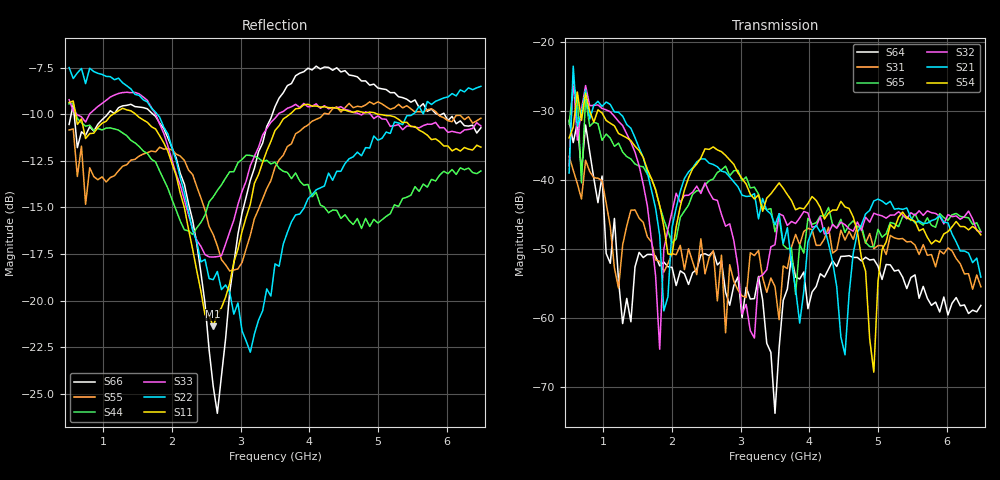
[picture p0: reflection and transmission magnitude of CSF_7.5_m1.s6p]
!Keysight Technologies,M9804A,MY58100912,A.14.10.03
!Date: Thursday, April 27, 2023 10:28:33
!Correction: S11(C  6-Port  )
!S12(C  6-Port  )
!S13(C  6-Port  )
!S14(C  6-Port  )
!S15(C  6-Port  )
!S16(C  6-Port  )
!S21(C  6-Port  )
!S22(C  6-Port  )
!S23(C  6-Port  )
!S24(C  6-Port  )
!S25(C  6-Port  )
!S26(C  6-Port  )
!S31(C  6-Port  )
!S32(C  6-Port  )
!S33(C  6-Port  )
!S34(C  6-Port  )
!S35(C  6-Port  )
!S36(C  6-Port  )
!S41(C  6-Port  )
!S42(C  6-Port  )
!S43(C  6-Port  )
!S44(C  6-Port  )
!S45(C  6-Port  )
!S46(C  6-Port  )
!S51(C  6-Port  )
!S52(C  6-Port  )
!S53(C  6-Port  )
!S54(C  6-Port  )
!S55(C  6-Port  )
!S56(C  6-Port  )
!S61(C  6-Port  )
!S62(C  6-Port  )
!S63(C  6-Port  )
!S64(C  6-Port  )
!S65(C  6-Port  )
!S66(C  6-Port  )
!S6P File: Measurement: :
# Hz S  RI  R 50
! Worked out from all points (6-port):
!   101 points, 500 MHz to 6.5 GHz, reference 50 ohm
!   strongest paths, dB at 500 MHz, 2 GHz, 3.5 GHz, 5 GHz, 6.5 GHz:
!     S54: -33.9, -50.8, -41.3, -54.8, -48.0
!     S21: -39.0, -46.9, -46.6, -42.8, -54.1
!     S32: -38.0, -44.6, -49.4, -45.1, -47.6
!     S65: -31.9, -49.2, -47.5, -47.2, -47.5
!     S31: -36.6, -50.7, -55.5, -49.5, -55.5
!     S64: -31.4, -52.7, -73.8, -52.5, -58.2
!   lowest |S11| = -21.4 dB at 2.6 GHz (marker M1), VSWR 1.19, Z = 42.4 + j2.3 ohm
!   |S11| at or under -10 dB: 593.7 MHz to 1.14 GHz (546.7 MHz wide, 63 % of centre); 1.469 GHz to 3.717 GHz (2.248 GHz wide, 86.7 % of centre); 4.995 GHz to end of sweep
